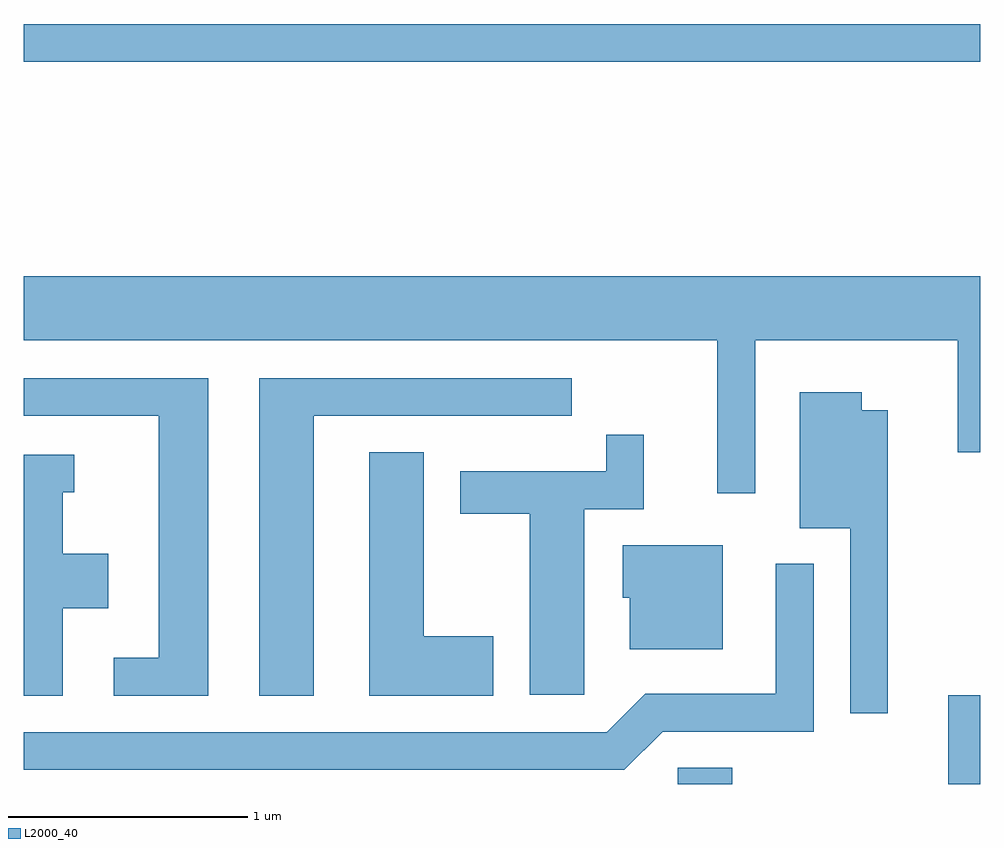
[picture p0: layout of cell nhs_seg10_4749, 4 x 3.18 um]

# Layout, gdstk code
import gdstk
lib = gdstk.Library(unit=1e-6, precision=1e-09)
def R(c, l, rs):  # rectangles x0, y0, x1, y1
    for r in rs: c.add(gdstk.rectangle(r[:2], r[2:], *l))
def P(c, l, *ps):  # polygons
    for p in ps: c.add(gdstk.Polygon(p, *l))
L2000_40 = (2000, 40)

nhs_seg10_4749 = lib.new_cell('nhs_seg10_4749')
R(nhs_seg10_4749, L2000_40, [(328.346,2096.522,328.574,2096.589), (329.476,2096.522,329.611,2096.894), (325.611,2099.541,329.611,2099.699)])
P(nhs_seg10_4749, L2000_40, [(328.669,2098.376),(329.516,2098.376),(329.516,2097.908),(329.611,2097.908),(329.611,2098.644),(325.611,2098.644),(325.611,2098.376),(328.511,2098.376),(328.511,2097.738),(328.669,2097.738)],
  [(326.384,2098.219),(325.611,2098.219),(325.611,2098.061),(326.176,2098.061),(326.176,2097.049),(325.988,2097.049),(325.988,2096.891),(326.384,2096.891)],
  [(326.824,2098.061),(327.903,2098.061),(327.903,2098.219),(326.596,2098.219),(326.596,2096.891),(326.824,2096.891)],
  [(329.224,2098.084),(329.114,2098.084),(329.114,2098.159),(328.856,2098.159),(328.856,2097.591),(329.066,2097.591),(329.066,2096.818),(329.224,2096.818)],
  [(327.954,2097.671),(328.204,2097.671),(328.204,2097.983),(328.046,2097.983),(328.046,2097.829),(327.436,2097.829),(327.436,2097.651),(327.726,2097.651),(327.726,2096.896),(327.954,2096.896)],
  [(327.574,2097.139),(327.284,2097.139),(327.284,2097.909),(327.056,2097.909),(327.056,2096.891),(327.574,2096.891)],
  [(325.774,2097.256),(325.964,2097.256),(325.964,2097.484),(325.774,2097.484),(325.774,2097.741),(325.823,2097.741),(325.823,2097.899),(325.611,2097.899),(325.611,2096.891),(325.774,2096.891)],
  [(328.534,2097.519),(328.116,2097.519),(328.116,2097.301),(328.146,2097.301),(328.146,2097.086),(328.534,2097.086)],
  [(328.282,2096.741),(328.914,2096.741),(328.914,2097.443),(328.756,2097.443),(328.756,2096.899),(328.209,2096.899),(328.049,2096.739),(325.611,2096.739),(325.611,2096.581),(328.122,2096.581)])

lib.write_gds('nhs_seg10_4749.gds')
